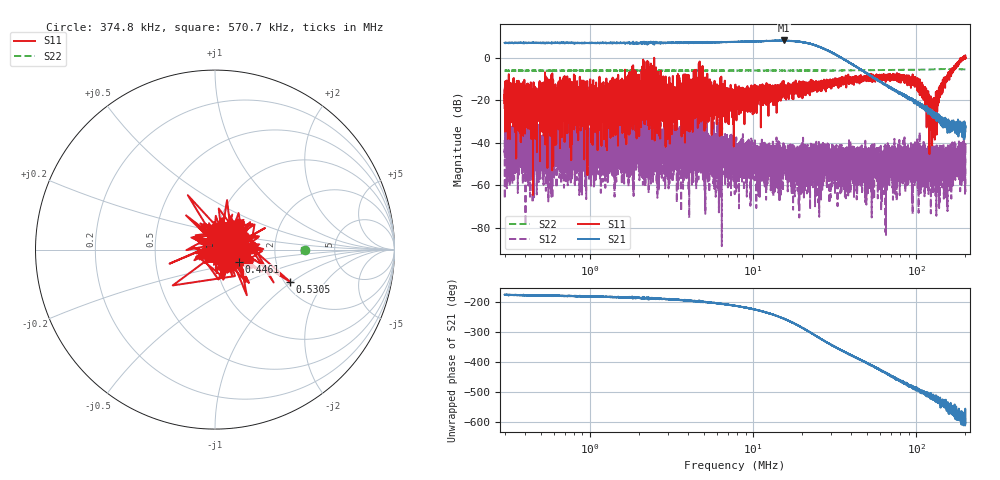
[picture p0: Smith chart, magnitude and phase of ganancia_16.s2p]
# Hz S DB R 50
! CMT, M5065, 19127446, 24.2.4/2
! Date: 11/1/2024 3:17:36 PM
! Data: Format (Calibration Info)
! Freq	S11:dB/Ang(F2)	S21:dB/Ang(F2)	S12:dB/Ang(F2)	S22:dB/Ang(F2)
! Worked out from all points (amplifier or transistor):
!   9000 points, 300 kHz to 200 MHz, reference 50 ohm
!   highest |S21| = 8.2 dB at 15.42 MHz (marker M1)
!   |S21| within 3 dB of that: start of sweep to 25.44 MHz (the widest 1 of 2)
!   unconditionally stable (mu >= 1): start of sweep to 2.475 MHz; 2.477 MHz to 191.3 MHz; 191.4821 MHz to 191.9622 MHz (the widest 3 of 16)
!   at 886.8 kHz: K = 15.46, MAG = 8.3 dB, |S12| = -39.5 dB
!   at 7.749 MHz: K = 25.45, MAG = 8.9 dB, |S12| = -44.3 dB
!   at 200 MHz: K = 82.31, MAG = -17.3 dB, |S12| = -42.4 dB
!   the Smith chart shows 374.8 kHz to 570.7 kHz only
!   S11 on the Smith chart (normalised r, x): 374.8 kHz: 1.22, +0.38; 446.1 kHz: 1.29, -0.18; 530.5 kHz: 2.14, -0.97; 570.7 kHz: 1.15, +0.09
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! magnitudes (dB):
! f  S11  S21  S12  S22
! 300 kHz  -17.4  7.0  -38.8  -6.0
! 374.8 kHz  -14.1  7.0  -48.5  -6.0
! 446.1 kHz  -16.6  7.0  -45.3  -6.0
! 530.5 kHz  -6.8  6.8  -37.4  -6.0
! 570.7 kHz  -21.6  7.0  -36.3  -6.1
! 886.8 kHz  -17.9  7.0  -39.5  -6.0
! 1.632 MHz  -34.9  7.1  -30.1  -6.2
! 2.14 MHz  -18.9  7.1  -47.3  -6.0
! 2.621 MHz  -17.6  7.0  -46.9  -6.0
! 3.884 MHz  -18.7  7.1  -49.6  -6.0
! 7.749 MHz  -21.3  7.6  -44.3  -6.0
! 10.02 MHz  -23.4  7.7  -57.9  -6.0
! 10.65 MHz  -16.8  7.8  -52.1  -6.0
! 11.37 MHz  -19.9  7.8  -45.9  -6.0
! 15.42 MHz  -10.9  8.2  -40.6  -6.0
! 22.91 MHz  -13.4  6.4  -47.0  -6.0
! 67.71 MHz  -9.7  -13.6  -60.0  -5.7
! 98.59 MHz  -9.0  -20.2  -58.3  -5.6
! 111.2 MHz  -15.3  -23.5  -49.1  -5.6
! 127.1 MHz  -32.6  -26.2  -58.2  -5.4
! 149.8 MHz  -10.7  -30.3  -46.5  -5.3
! 200 MHz  -0.2  -32.7  -42.4  -5.4
